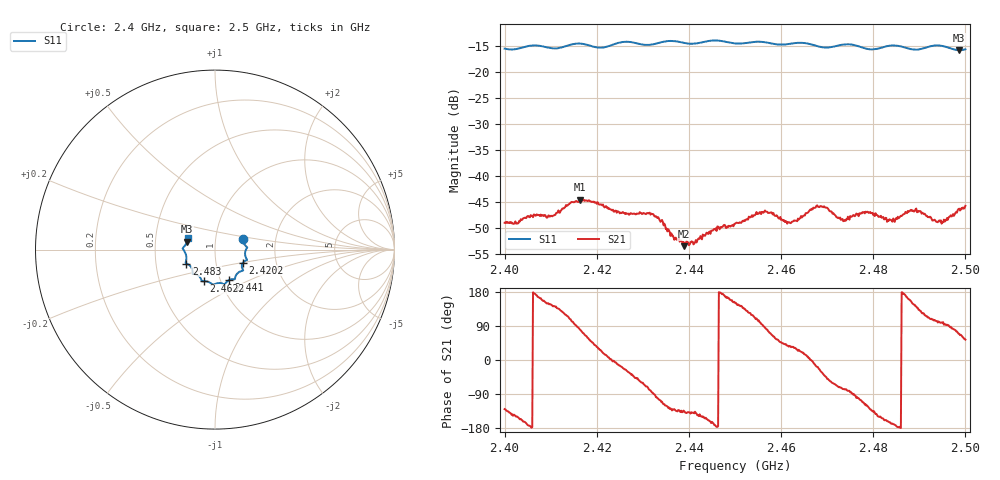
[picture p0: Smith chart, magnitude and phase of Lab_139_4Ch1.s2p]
# Hz S RI R 50
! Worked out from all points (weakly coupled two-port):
!   601 points, 2.4 GHz to 2.5 GHz, reference 50 ohm
!   highest |S21| = -44.52 dB at 2.4163 GHz (marker M1); lowest = -53.5 dB at 2.439 GHz (marker M2)
!   lowest |S11| = -15.8 dB at 2.4987 GHz (marker M3), VSWR 1.39, Z = 36.4 + j3.3 ohm
!   |S11| at or under -10 dB: start of sweep to end of sweep
!   S12 and S22 are empty: the file has one direction only
!   S11 on the Smith chart (normalised r, x): 2.4 GHz: 1.36, +0.17; 2.4202 GHz: 1.35, -0.20; 2.441 GHz: 1.10, -0.39; 2.4622 GHz: 0.83, -0.30; 2.483 GHz: 0.72, -0.12; 2.5 GHz: 0.73, +0.09
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2.4e9  0.1564 0.0604  -0.00226 -0.00274  0 0  0 0
2.410333e9  0.1686 -0.011  -0.0033 0.00244  0 0  0 0
2.416333e9  0.1785 -0.0578  0.000982 0.00586  0 0  0 0
2.416667e9  0.1777 -0.0582  0.0014 0.00565  0 0  0 0
2.420167e9  0.1562 -0.072  0.00467 0.00312  0 0  0 0
2.433333e9  0.113 -0.1524  -0.00083 -0.00394  0 0  0 0
2.4365e9  0.1098 -0.1655  -0.00172 -0.00206  0 0  0 0
2.439e9  0.0959 -0.1645  -0.00151 -0.00148  0 0  0 0
2.441e9  0.077 -0.1705  -0.00166 -0.00145  0 0  0 0
2.45e9  0.0265 -0.1863  -0.00303 0.0017  0 0  0 0
2.456333e9  -0.0151 -0.1932  0.000149 0.00453  0 0  0 0
2.462167e9  -0.0629 -0.1764  0.00294 0.00197  0 0  0 0
2.466667e9  -0.0766 -0.167  0.00485 -0.00016  0 0  0 0
2.4695e9  -0.0919 -0.1452  0.00373 -0.00335  0 0  0 0
2.4735e9  -0.1229 -0.1364  0.000836 -0.00359  0 0  0 0
2.478833e9  -0.129 -0.1048  -0.00242 -0.00382  0 0  0 0
2.483e9  -0.159 -0.078  -0.00344 -0.00116  0 0  0 0
2.483333e9  -0.1606 -0.0773  -0.00355 -0.00107  0 0  0 0
2.488833e9  -0.1601 -0.0374  -0.00378 0.00253  0 0  0 0
2.495333e9  -0.1762 0.0123  -0.000202 0.00381  0 0  0 0
2.498667e9  -0.1557 0.0442  0.00172 0.00454  0 0  0 0
2.5e9  -0.1529 0.0627  0.00306 0.00418  0 0  0 0
